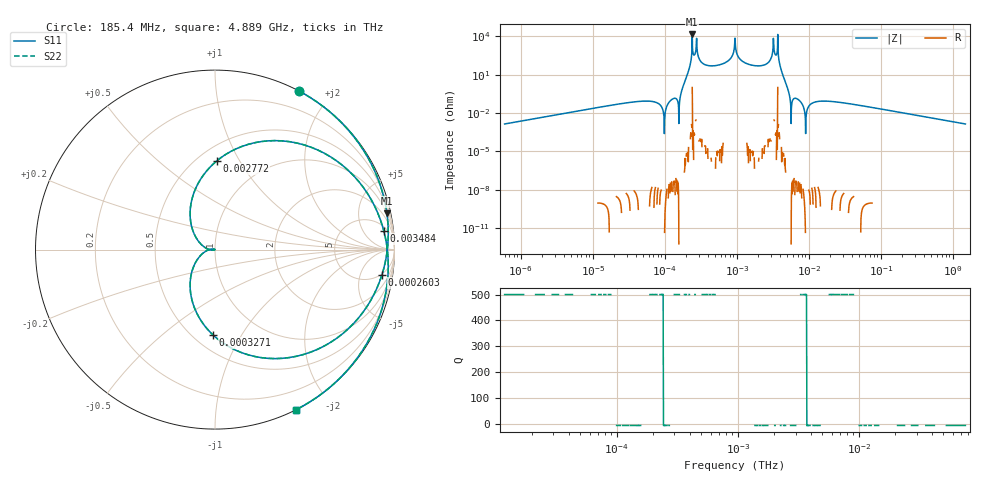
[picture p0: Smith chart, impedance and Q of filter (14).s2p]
! rf-tools.com
! Date: Thu Jan 30 2020 11:39:51 GMT+0000 (格林尼治标准时间)
# Hz S DB R 50.00
!Frequency  S11 dB  S11 Deg  S21 dB  S21 Deg  S12 dB  S12 Deg  S22 dB  S22 Deg
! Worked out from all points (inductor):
!   2000 points, 600 kHz to 1.5 THz, reference 50 ohm
!   read as one part in shunt: L = 369 pH near 645.9 kHz
!   highest |Z| = 13.6 kohm at 241.8 MHz (marker M1)
!   self-resonance near 99.18 MHz
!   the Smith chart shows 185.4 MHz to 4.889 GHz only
!   S11 on the Smith chart (normalised r, x): 185.4 MHz: 0.00, +1.66; 260.3 MHz: 5, -11; 327.1 MHz: 0.62, -0.76; 2.772 GHz: 0.62, +0.81; 3.484 GHz: 7, +14; 4.889 GHz: 0.00, -1.63
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600000  -0.00 179.7  -85.10 89.7  -85.10 89.7  -0.00 179.7
7033018  -0.00 175.9  -63.78 85.9  -63.78 85.9  -0.00 175.9
8.18336e7  -0.00 131.6  -54.72 41.6  -54.72 41.6  -0.00 131.6
1.005883e8  -0.00 120.1  -75.53 -149.9  -75.53 -149.9  -0.00 120.1
1.588484e8  -0.00 81.6  -68.72 -8.4  -68.72 -8.4  -0.00 81.6
1.854364e8  -0.00 62.0  -34.04 -28.0  -34.04 -28.0  -0.00 62.0
2.417773e8  -0.18 12.0  -13.80 -78.0  -13.80 -78.0  -0.18 12.0
2.602682e8  -0.53 -8.6  -9.39 -98.6  -9.39 -98.6  -0.53 -8.6
3.270686e8  -6.46 -91.4  -1.11 178.6  -1.11 178.6  -6.46 -91.4
4.762861e8  -30.49 178.3  -0.00 88.3  -0.00 88.3  -30.49 178.3
7.52148e8  -81.45 116.4  -0.00 26.4  -0.00 26.4  -81.45 116.4
9.521854e8  -261.83 -90.4  -0.00 -0.4  -0.00 -0.4  -261.83 -90.4
1.196573e9  -81.45 -116.4  -0.00 -26.4  -0.00 -26.4  -81.45 -116.4
1.903598e9  -29.93 -179.5  -0.00 -89.5  -0.00 -89.5  -29.93 -179.5
2.77207e9  -6.11 88.8  -1.22 178.8  -1.22 178.8  -6.11 88.8
3.483549e9  -0.48 6.3  -9.81 96.3  -9.81 96.3  -0.48 6.3
4.889316e9  -0.00 -63.0  -34.78 27.0  -34.78 27.0  -0.00 -63.0
5.665778e9  -0.00 -81.6  -68.72 8.4  -68.72 8.4  -0.00 -81.6
8.94736e9  -0.00 -120.1  -75.53 149.9  -75.53 149.9  -0.00 -120.1
1.107928e10  -0.00 -132.0  -54.48 -42.0  -54.48 -42.0  -0.00 -132.0
1.289144e11  -0.00 -175.9  -63.84 -85.9  -63.84 -85.9  -0.00 -175.9
1.5e12  -0.00 -179.7  -85.10 -89.7  -85.10 -89.7  -0.00 -179.7
